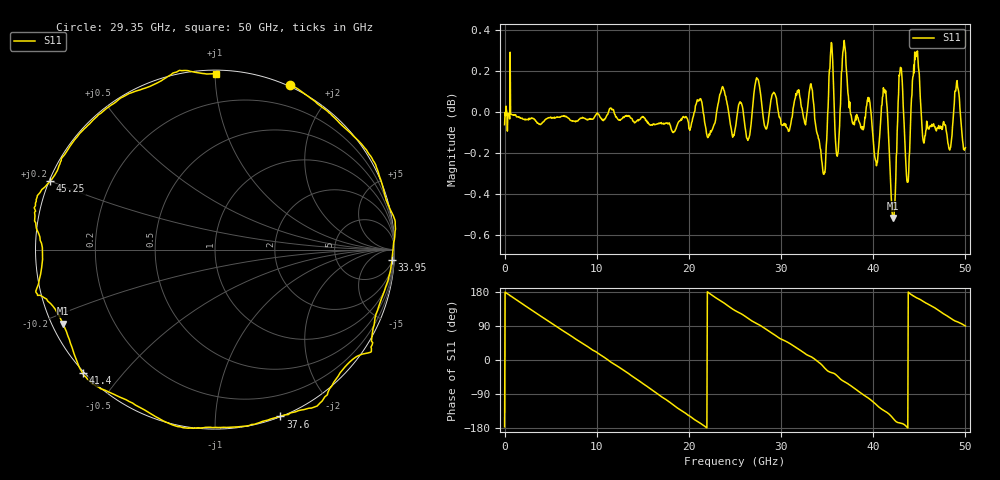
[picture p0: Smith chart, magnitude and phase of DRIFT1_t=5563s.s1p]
!Created with skrf (http://scikit-rf.org).
# Hz S RI R 50.0
!freq ReS11 ImS11
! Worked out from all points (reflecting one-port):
!   1001 points, 300 kHz to 50 GHz, reference 50 ohm
!   lowest |S11| = -0.5 dB at 42.15 GHz (marker M1), VSWR 33.77, Z = 1.56 - j11.5 ohm
!   phase of S11 starts at -176 deg and turns -814 deg over the sweep
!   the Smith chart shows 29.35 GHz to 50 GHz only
!   S11 on the Smith chart (normalised r, x): 29.35 GHz: -0.02, +1.56; 33.95 GHz: 7, -32; 37.6 GHz: 0.00, -1.47; 41.4 GHz: -0.01, -0.39; 45.25 GHz: 0.00, +0.20; 50 GHz: 0.02, +1.00
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300000  -0.9909 -0.0629
1.550291e9  -0.8992 0.4308
3.30028e9  -0.5816 0.8082
6.250262e9  0.1999 0.9775
9.500243e9  0.8889 0.4496
1.115023e10  0.9983 0.0219
1.250022e10  0.9337 -0.346
1.580021e10  0.2452 -0.9619
1.73502e10  -0.2063 -0.9719
1.875019e10  -0.5924 -0.7969
2.155017e10  -0.9899 -0.1383
2.350016e10  -0.9214 0.4185
2.500015e10  -0.6433 0.7525
2.730014e10  -0.1239 1.011
2.935012e10  0.4198 0.9187
3.125011e10  0.7781 0.6267
3.39501e10  0.9856 -0.0592
3.520009e10  0.8789 -0.5184
3.750008e10  0.3924 -0.9203
3.760007e10  0.3648 -0.9293
3.950006e10  -0.1925 -0.9873
4.140005e10  -0.7374 -0.6893
4.215005e10  -0.8473 -0.4128
4.290004e10  -0.9937 -0.243
4.375004e10  -0.9614 -0.00988
4.525003e10  -0.9189 0.3812
4.775001e10  -0.5008 0.8576
5e10  0.00473 0.9802
